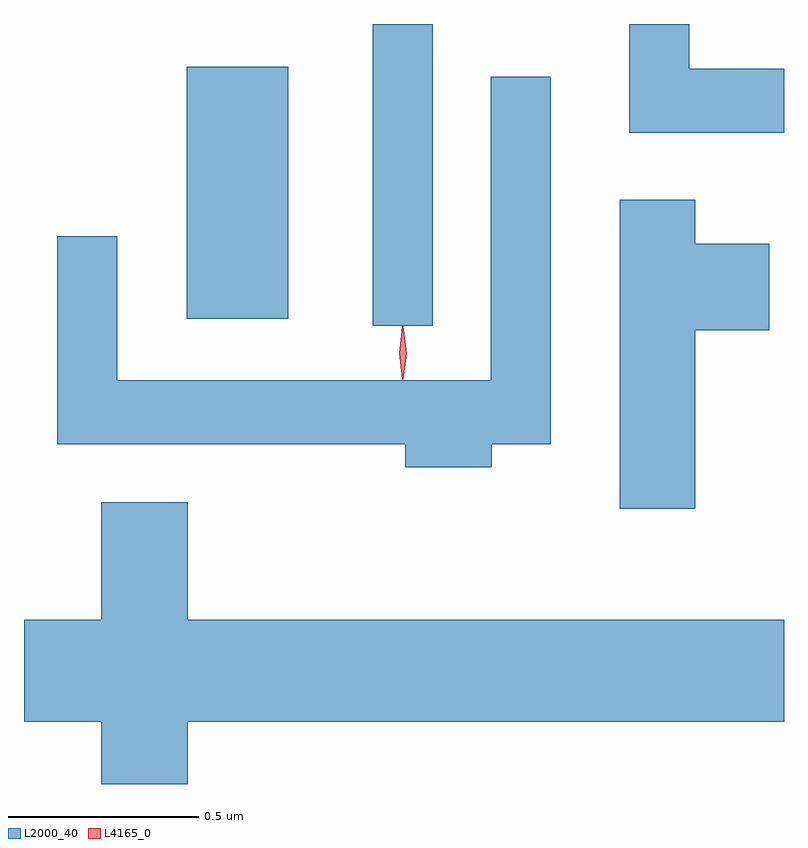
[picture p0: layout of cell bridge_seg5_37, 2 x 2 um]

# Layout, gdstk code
import gdstk
lib = gdstk.Library(unit=1e-6, precision=1e-09)
def R(c, l, rs):  # rectangles x0, y0, x1, y1
    for r in rs: c.add(gdstk.rectangle(r[:2], r[2:], *l))
def P(c, l, *ps):  # polygons
    for p in ps: c.add(gdstk.Polygon(p, *l))
L2000_40 = (2000, 40)
L4165_0 = (4165, 0)

bridge_seg5_37 = lib.new_cell('bridge_seg5_37')
R(bridge_seg5_37, L2000_40, [(1348.326,1473.378,1348.484,1474.172), (1347.836,1473.396,1348.104,1474.059)])
P(bridge_seg5_37, L2000_40, [(1349.408,1474.054),(1349.159,1474.054),(1349.159,1474.172),(1349.001,1474.172),(1349.001,1473.886),(1349.408,1473.886)],
  [(1348.639,1473.066),(1348.794,1473.066),(1348.794,1474.033),(1348.636,1474.033),(1348.636,1473.234),(1347.654,1473.234),(1347.654,1473.613),(1347.496,1473.613),(1347.496,1473.066),(1348.411,1473.066),(1348.411,1473.006),(1348.639,1473.006)],
  [(1349.174,1473.366),(1349.369,1473.366),(1349.369,1473.594),(1349.174,1473.594),(1349.174,1473.709),(1348.976,1473.709),(1348.976,1472.896),(1349.174,1472.896)],
  [(1347.839,1472.336),(1349.408,1472.336),(1349.408,1472.604),(1347.839,1472.604),(1347.839,1472.914),(1347.611,1472.914),(1347.611,1472.604),(1347.408,1472.604),(1347.408,1472.336),(1347.611,1472.336),(1347.611,1472.172),(1347.839,1472.172)])
P(bridge_seg5_37, L4165_0, [(1348.404,1473.237),(1348.395,1473.306),(1348.404,1473.376),(1348.405,1473.376),(1348.406,1473.376),(1348.415,1473.306),(1348.406,1473.237),(1348.405,1473.237)])

lib.write_gds('bridge_seg5_37.gds')
